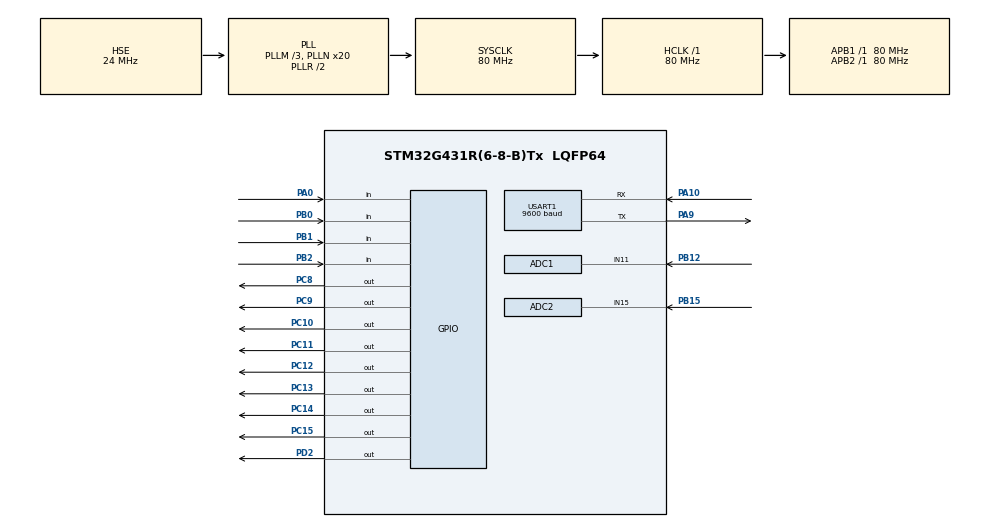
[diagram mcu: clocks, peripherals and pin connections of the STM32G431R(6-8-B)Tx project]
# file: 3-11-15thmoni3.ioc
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ADC1.Channel-0\#ChannelRegularConversion=ADC_CHANNEL_11
ADC1.ClockPrescaler=ADC_CLOCK_ASYNC_DIV128
ADC1.NbrOfConversionFlag=1
ADC1.OffsetNumber-0\#ChannelRegularConversion=ADC_OFFSET_NONE
ADC1.Rank-0\#ChannelRegularConversion=1
ADC1.SamplingTime-0\#ChannelRegularConversion=ADC_SAMPLETIME_2CYCLES_5
ADC1.master=1
ADC2.Channel-0\#ChannelRegularConversion=ADC_CHANNEL_15
ADC2.ClockPrescaler=ADC_CLOCK_ASYNC_DIV128
ADC2.NbrOfConversionFlag=1
ADC2.OffsetNumber-0\#ChannelRegularConversion=ADC_OFFSET_NONE
ADC2.Rank-0\#ChannelRegularConversion=1
ADC2.SamplingTime-0\#ChannelRegularConversion=ADC_SAMPLETIME_2CYCLES_5
Mcu.Family=STM32G4
Mcu.Name=STM32G431R(6-8-B)Tx
Mcu.Package=LQFP64
NVIC.PriorityGroup=NVIC_PRIORITYGROUP_4
NVIC.TIM1_BRK_TIM15_IRQn=true\:0\:0\:false\:false\:true\:true\:true\:true
NVIC.TIM7_IRQn=true\:0\:0\:false\:false\:true\:true\:true\:true
NVIC.USART1_IRQn=true\:0\:0\:false\:false\:true\:true\:true\:true
PA0.Signal=GPIO_Input
PA10.Mode=Asynchronous
PA10.Signal=USART1_RX
PA13.Mode=Serial_Wire
PA13.Signal=SYS_JTMS-SWDIO
PA14.Mode=Serial_Wire
PA14.Signal=SYS_JTCK-SWCLK
PA9.Mode=Asynchronous
PA9.Signal=USART1_TX
PB0.Signal=GPIO_Input
PB1.Signal=GPIO_Input
PB12.Mode=IN11-Single-Ended
PB12.Signal=ADC1_IN11
PB15.Mode=IN15-Single-Ended
PB15.Signal=ADC2_IN15
PB2.Signal=GPIO_Input
PC10.Signal=GPIO_Output
PC11.Signal=GPIO_Output
PC12.Signal=GPIO_Output
PC13.Signal=GPIO_Output
PC14-OSC32_IN.Signal=GPIO_Output
PC15-OSC32_OUT.Signal=GPIO_Output
PC8.Signal=GPIO_Output
PC9.Signal=GPIO_Output
PD2.Signal=GPIO_Output
PF0-OSC_IN.Mode=HSE-External-Oscillator
PF0-OSC_IN.Signal=RCC_OSC_IN
PF1-OSC_OUT.Mode=HSE-External-Oscillator
PF1-OSC_OUT.Signal=RCC_OSC_OUT
ProjectManager.HeapSize=0x200
ProjectManager.StackSize=0x400
ProjectManager.TargetToolchain=MDK-ARM V5.32
RCC.ADC12Freq_Value=80000000
RCC.AHBFreq_Value=80000000
RCC.APB1Freq_Value=80000000
RCC.APB1TimFreq_Value=80000000
RCC.APB2Freq_Value=80000000
RCC.APB2TimFreq_Value=80000000
RCC.CortexFreq_Value=80000000
RCC.EXTERNAL_CLOCK_VALUE=12288000
RCC.HCLKFreq_Value=80000000
RCC.HSE_VALUE=24000000
RCC.HSI48_VALUE=48000000
RCC.HSI_VALUE=16000000
RCC.LSE_VALUE=32768
RCC.PLLM=RCC_PLLM_DIV3
RCC.PLLN=20
RCC.PLLSourceVirtual=RCC_PLLSOURCE_HSE
RCC.SYSCLKFreq_VALUE=80000000
RCC.SYSCLKSource=RCC_SYSCLKSOURCE_PLLCLK
RCC.USBFreq_Value=80000000
RCC.VCOOutputFreq_Value=160000000
TIM15.PeriodNoDither=1000-1
TIM15.Prescaler=800-1
TIM7.PeriodNoDither=1000-1
TIM7.Prescaler=80-1
USART1.BaudRate=9600
USART1.VirtualMode-Asynchronous=VM_ASYNC
VP_SYS_VS_DBSignals.Mode=DisableDeadBatterySignals
VP_TIM15_VS_ClockSourceINT.Mode=Internal
VP_TIM7_VS_ClockSourceINT.Mode=Enable_Timer
board=custom

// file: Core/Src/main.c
/* USER CODE BEGIN Header */
/**
  ******************************************************************************
  * @file           : main.c
  * @brief          : Main program body
  ******************************************************************************
  * @attention
  *
  * Copyright (c) 2025 STMicroelectronics.
  * All rights reserved.
  *
  * This software is licensed under terms that can be found in the LICENSE file
  * in the root directory of this software component.
  * If no LICENSE file comes with this software, it is provided AS-IS.
  *
  ******************************************************************************
  */
/* USER CODE END Header */
#include "main.h"
#include "adc.h"
#include "tim.h"
#include "usart.h"
#include "gpio.h"

/* USER CODE BEGIN Includes */
#include "headfile.h"

/* USER CODE END Includes */

void SystemClock_Config(void);

int main(void)
{

  /* MCU Configuration--------------------------------------------------------*/

  /* Reset of all peripherals, Initializes the Flash interface and the Systick. */
  HAL_Init();

  /* Configure the system clock */
  SystemClock_Config();

  /* Initialize all configured peripherals */
  MX_GPIO_Init();
  MX_ADC1_Init();
  MX_ADC2_Init();
  MX_TIM7_Init();
  MX_TIM15_Init();
  MX_USART1_UART_Init();
  /* USER CODE BEGIN 2 */
	HAL_GPIO_WritePin(GPIOD, GPIO_PIN_2, GPIO_PIN_RESET);
	led_show(1,0);
	led_show(2,0);
	led_show(3,0);
	led_show(4,0);
	led_show(5,0);
	led_show(6,0);
	led_show(7,0);
	led_show(8,0);

	led_show(1,1);

	LCD_Init();
	LCD_Clear(Black);
	LCD_SetTextColor(White);
	LCD_SetBackColor(Black);

	HAL_TIM_Base_Start_IT(&htim7);

	HAL_ADCEx_Calibration_Start(&hadc1,ADC_SINGLE_ENDED);
	HAL_ADCEx_Calibration_Start(&hadc2,ADC_SINGLE_ENDED);

	HAL_UART_Receive_IT(&huart1,&rx_data,1);
  /* USER CODE END 2 */

  /* Infinite loop */
  /* USER CODE BEGIN WHILE */
  while (1)
  {
		while_fun();
    /* USER CODE END WHILE */

  }
}

void SystemClock_Config(void)
{
  RCC_OscInitTypeDef RCC_OscInitStruct = {0};
  RCC_ClkInitTypeDef RCC_ClkInitStruct = {0};

  /** Configure the main internal regulator output voltage
  */
  HAL_PWREx_ControlVoltageScaling(PWR_REGULATOR_VOLTAGE_SCALE1);

  /** Initializes the RCC Oscillators according to the specified parameters
  * in the RCC_OscInitTypeDef structure.
  */
  RCC_OscInitStruct.OscillatorType = RCC_OSCILLATORTYPE_HSE;
  RCC_OscInitStruct.HSEState = RCC_HSE_ON;
  RCC_OscInitStruct.PLL.PLLState = RCC_PLL_ON;
  RCC_OscInitStruct.PLL.PLLSource = RCC_PLLSOURCE_HSE;
  RCC_OscInitStruct.PLL.PLLM = RCC_PLLM_DIV3;
  RCC_OscInitStruct.PLL.PLLN = 20;
  RCC_OscInitStruct.PLL.PLLP = RCC_PLLP_DIV2;
  RCC_OscInitStruct.PLL.PLLQ = RCC_PLLQ_DIV2;
  RCC_OscInitStruct.PLL.PLLR = RCC_PLLR_DIV2;
  if (HAL_RCC_OscConfig(&RCC_OscInitStruct) != HAL_OK)
  {
    Error_Handler();
  }

  /** Initializes the CPU, AHB and APB buses clocks
  */
  RCC_ClkInitStruct.ClockType = RCC_CLOCKTYPE_HCLK|RCC_CLOCKTYPE_SYSCLK
                              |RCC_CLOCKTYPE_PCLK1|RCC_CLOCKTYPE_PCLK2;
  RCC_ClkInitStruct.SYSCLKSource = RCC_SYSCLKSOURCE_PLLCLK;
  RCC_ClkInitStruct.AHBCLKDivider = RCC_SYSCLK_DIV1;
  RCC_ClkInitStruct.APB1CLKDivider = RCC_HCLK_DIV1;
  RCC_ClkInitStruct.APB2CLKDivider = RCC_HCLK_DIV1;

  if (HAL_RCC_ClockConfig(&RCC_ClkInitStruct, FLASH_LATENCY_2) != HAL_OK)
  {
    Error_Handler();
  }
}

void Error_Handler(void)
{
  __disable_irq();
  while (1)
  {
  }
}
